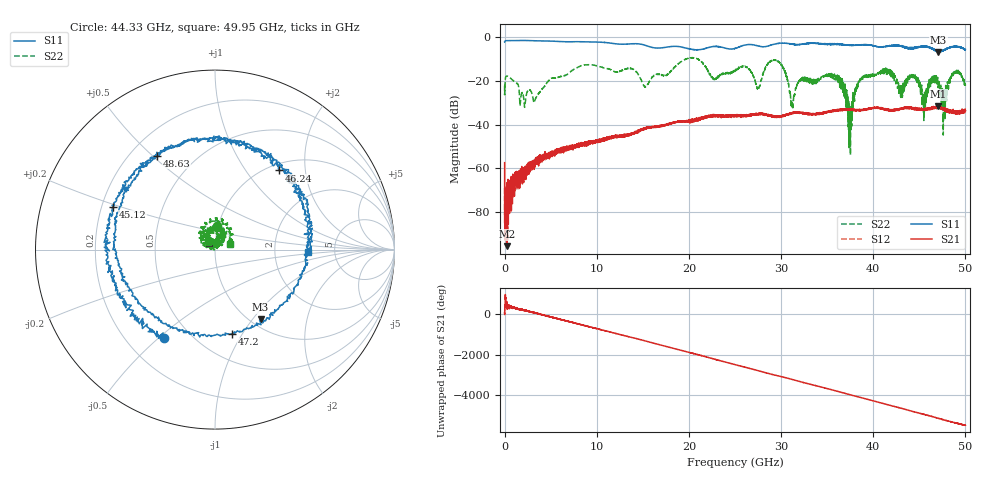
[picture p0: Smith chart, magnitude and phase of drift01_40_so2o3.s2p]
!Created with skrf (http://scikit-rf.org).
# Hz S RI R 50.0
!freq ReS11 ImS11 ReS21 ImS21 ReS12 ImS12 ReS22 ImS22
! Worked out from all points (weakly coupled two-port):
!   10001 points, 300 kHz to 50 GHz, reference 50 ohm
!   highest |S21| = -31.50 dB at 47.07 GHz (marker M1); lowest = -95.7 dB at 270.3 MHz (marker M2)
!   lowest |S11| = -6.7 dB at 47.05 GHz (marker M3), VSWR 2.73, Z = 55.4 - j54.9 ohm
!   |S11| at or under -10 dB: nowhere
!   |S22| runs from -53.9 to -9.2 dB; largest |S21 - S12| = 0.0045
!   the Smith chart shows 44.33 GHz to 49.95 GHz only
!   S11 on the Smith chart (normalised r, x): 44.33 GHz: 0.36, -0.52; 45.12 GHz: 0.25, +0.19; 46.24 GHz: 1.11, +1.45; 47.2 GHz: 0.74, -0.90; 48.63 GHz: 0.31, +0.52; 49.95 GHz: 3.15, -0.13
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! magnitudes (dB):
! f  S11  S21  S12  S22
! 300 kHz  -2.1  -57.4  -69.0  -22.1
! 270.3 MHz  -1.4  -95.7  -91.2  -17.7
! 3.285 GHz  -1.5  -57.6  -58.2  -28.9
! 8.335 GHz  -1.9  -48.9  -49.2  -12.9
! 16.67 GHz  -4.8  -40.8  -40.9  -16.7
! 25 GHz  -5.0  -35.8  -35.8  -15.5
! 29.58 GHz  -2.8  -36.0  -36.2  -10.6
! 31.24 GHz  -3.0  -34.6  -34.7  -32.1
! 33.34 GHz  -2.6  -35.0  -35.0  -19.5
! 36.21 GHz  -3.1  -33.2  -33.2  -20.6
! 37.49 GHz  -3.6  -33.4  -33.3  -35.5
! 38.64 GHz  -3.4  -33.3  -33.3  -19.9
! 41.67 GHz  -3.9  -33.0  -33.2  -15.2
! 44.33 GHz  -4.9  -32.8  -32.7  -17.5
! 45.12 GHz  -4.2  -33.0  -33.0  -22.9
! 46.24 GHz  -4.9  -33.1  -32.7  -20.1
! 47.05 GHz  -6.7  -31.8  -32.1  -22.7
! 47.07 GHz  -6.2  -31.5  -32.0  -22.8
! 47.2 GHz  -6.4  -32.1  -32.5  -23.5
! 48.63 GHz  -4.2  -34.5  -34.4  -17.6
! 49.95 GHz  -5.7  -33.4  -33.3  -21.0
! 50 GHz  -5.5  -33.4  -33.3  -21.7
